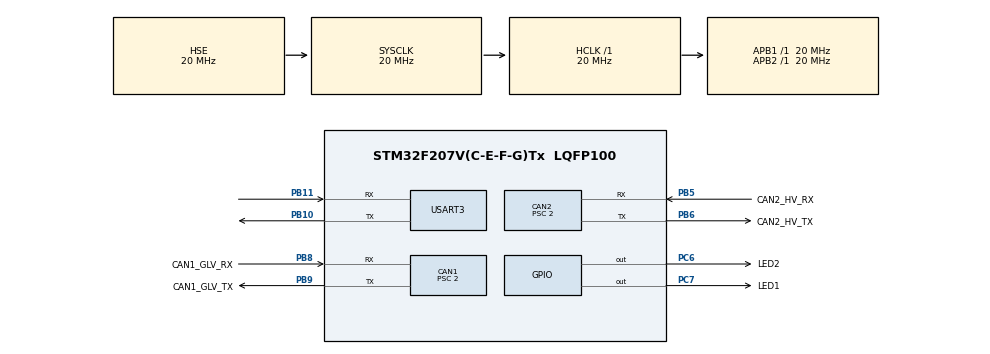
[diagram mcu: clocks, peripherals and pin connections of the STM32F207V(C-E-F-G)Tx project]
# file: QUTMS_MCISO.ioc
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CAN1.BS1=CAN_BS1_8TQ
CAN1.CalculateBaudRate=1000000
CAN1.CalculateTimeBit=1000
CAN1.CalculateTimeQuantum=100.0
CAN1.Prescaler=2
CAN2.BS1=CAN_BS1_8TQ
CAN2.CalculateBaudRate=1000000
CAN2.CalculateTimeBit=1000
CAN2.CalculateTimeQuantum=100.0
CAN2.Prescaler=2
IWDG.Prescaler=IWDG_PRESCALER_8
IWDG.Reload=1000
Mcu.Family=STM32F2
Mcu.Name=STM32F207V(C-E-F-G)Tx
Mcu.Package=LQFP100
NVIC.CAN1_RX0_IRQn=true\:1\:0\:true\:false\:true\:true\:true\:true
NVIC.CAN1_RX1_IRQn=true\:1\:0\:true\:false\:true\:true\:true\:true
NVIC.CAN1_TX_IRQn=true\:0\:0\:false\:false\:true\:true\:true\:true
NVIC.CAN2_RX0_IRQn=true\:1\:0\:true\:false\:true\:true\:true\:true
NVIC.CAN2_RX1_IRQn=true\:1\:0\:true\:false\:true\:true\:true\:true
NVIC.CAN2_TX_IRQn=true\:0\:0\:false\:false\:true\:true\:true\:true
NVIC.PriorityGroup=NVIC_PRIORITYGROUP_4
PB10.Mode=Asynchronous
PB10.Signal=USART3_TX
PB11.Mode=Asynchronous
PB11.Signal=USART3_RX
PB5.GPIO_Label=CAN2_HV_RX
PB5.Mode=CAN_Activate
PB5.Signal=CAN2_RX
PB6.GPIO_Label=CAN2_HV_TX
PB6.Mode=CAN_Activate
PB6.Signal=CAN2_TX
PB8.GPIO_Label=CAN1_GLV_RX
PB8.Mode=CAN_Activate
PB8.Signal=CAN1_RX
PB9.GPIO_Label=CAN1_GLV_TX
PB9.Mode=CAN_Activate
PB9.Signal=CAN1_TX
PC6.GPIO_Label=LED2
PC6.Signal=GPIO_Output
PC7.GPIO_Label=LED1
PC7.Signal=GPIO_Output
PH0-OSC_IN.Mode=HSE-External-Oscillator
PH0-OSC_IN.Signal=RCC_OSC_IN
PH1-OSC_OUT.Mode=HSE-External-Oscillator
PH1-OSC_OUT.Signal=RCC_OSC_OUT
ProjectManager.HeapSize=0x200
ProjectManager.StackSize=0x1000
ProjectManager.TargetToolchain=STM32CubeIDE
RCC.48MHZClocksFreq_Value=80000000
RCC.AHBFreq_Value=20000000
RCC.APB1Freq_Value=20000000
RCC.APB1TimFreq_Value=20000000
RCC.APB2Freq_Value=20000000
RCC.APB2TimFreq_Value=20000000
RCC.CortexFreq_Value=20000000
RCC.HCLKFreq_Value=20000000
RCC.HSE_VALUE=20000000
RCC.HSI_VALUE=16000000
RCC.LSE_VALUE=32768
RCC.PLLM=12
RCC.PLLP=RCC_PLLP_DIV4
RCC.PLLSourceVirtual=RCC_PLLSOURCE_HSE
RCC.SYSCLKFreq_VALUE=20000000
RCC.SYSCLKSource=RCC_SYSCLKSOURCE_HSE
RCC.VCOOutputFreq_Value=320000000
USART3.VirtualMode=VM_ASYNC
VP_IWDG_VS_IWDG.Mode=IWDG_Activate
board=custom

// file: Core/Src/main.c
/* USER CODE BEGIN Header */
/**
 ******************************************************************************
 * @file           : main.c
 * @brief          : Main program body
 ******************************************************************************
 * @attention
 *
 * <h2><center>&copy; Copyright (c) 2021 STMicroelectronics.
 * All rights reserved.</center></h2>
 *
 * This software component is licensed by ST under BSD 3-Clause license,
 * the "License"; You may not use this file except in compliance with the
 * License. You may obtain a copy of the License at:
 *                        opensource.org/licenses/BSD-3-Clause
 *
 ******************************************************************************
 */
/* USER CODE END Header */
#include "main.h"
#include "can.h"
#include "iwdg.h"
#include "usart.h"
#include "gpio.h"

/* USER CODE BEGIN Includes */
#include <stdio.h>
#include <sys/unistd.h>
#include <string.h>
#include <stdlib.h>
#include <CAN_VESC.h>
#include <CAN_MCISO.h>
#include <Timer.h>
#include <CAN_BMU.h>
#include <CAN_VCU.h>
/* USER CODE END Includes */

/* USER CODE BEGIN PV */
// hcan1 == GLV
// hcan2 == HV
// 0 - left, eg FL (0) and RL (2)
// 1 - right, eg FR (1) and RR (3)
#define MCISO_ID 1

MCISO_HeartbeatState_t MCISO_heartbeatState;

#define INVERTER_COUNT 2
#define HEARTBEAT_TIMEOUT 300U

typedef struct heartbeat_state {
	bool BMU;
	bool VCU_CTRL;

	bool inverter[INVERTER_COUNT];

	uint32_t hb_inv_start[INVERTER_COUNT];

	uint32_t hb_BMU_start;
	uint32_t hb_VCU_CTRL_start;
} heartbeat_state_t;

/* USER CODE END PV */

void SystemClock_Config(void);

/* USER CODE BEGIN 0 */
ms_timer_t timer_heartbeat;
heartbeat_state_t hbStates;
BMU_HeartbeatState_t BMU_hbState;

// heartbeat
void setup_heartbeat();
void heartbeat_timer_cb(void *args);
bool check_bad_heartbeat();

// IWDG
void setup_WDG();

/* USER CODE END 0 */

int main(void) {

	/* MCU Configuration--------------------------------------------------------*/

	/* Reset of all peripherals, Initializes the Flash interface and the Systick. */
	HAL_Init();

	/* Configure the system clock */
	SystemClock_Config();

	/* Initialize all configured peripherals */
	MX_GPIO_Init();
	MX_CAN1_Init();
	MX_CAN2_Init();
	MX_USART3_UART_Init();
	//MX_IWDG_Init();
	/* USER CODE BEGIN 2 */

	CAN_setup();
	setup_heartbeat();
	setup_WDG();

	// Turning on failsafe lights
	HAL_GPIO_WritePin(LED1_GPIO_Port, LED1_Pin, SET);
	HAL_GPIO_WritePin(LED2_GPIO_Port, LED2_Pin, SET);
	/* USER CODE END 2 */

	/* Infinite loop */
	/* USER CODE BEGIN WHILE */

	CAN_MSG_Generic_t msg;
	CAN_TxHeaderTypeDef header;

	//bool first_inv_msg = false;

	while (1) {
		check_bad_heartbeat();

		timer_update(&timer_heartbeat, NULL);
		//timer_update(&timer_WDG, NULL);

		// inverter to car
		while (queue_next(&CAN2_Rx, &msg)) {
			if (msg.ID_TYPE == 1) {
				// extended ID, check if VESC
				uint8_t vesc_ID = (msg.ID & 0xFF);
				uint8_t vesc_type_ID = msg.ID >> 8;

				// check that this is actually a VESC message
				if (vesc_type_ID <= VESC_CAN_PACKET_BMS_SOC_SOH_TEMP_STAT) {
					if (vesc_ID == (MCISO_ID)) {
						hbStates.hb_inv_start[0] = HAL_GetTick();
						hbStates.inverter[0] = true;
						MCISO_heartbeatState.errorFlags.HB_INV0 = 0;
					} else if (vesc_ID == (MCISO_ID + 2)) {
						hbStates.hb_inv_start[1] = HAL_GetTick();
						hbStates.inverter[1] = true;
						MCISO_heartbeatState.errorFlags.HB_INV1 = 0;
					}
				}
			}

			// msg from inverter side, just forward
			header.ExtId = msg.ID;
			header.StdId = msg.ID;
			header.IDE = msg.ID_TYPE == 1 ? CAN_ID_EXT : CAN_ID_STD;
			header.RTR = CAN_RTR_DATA;
			header.DLC = msg.DLC;

			send_can_msg(&hcan1, &header, msg.data);
		}

		// car to inverter
		while (queue_next(&CAN1_Rx, &msg)) {
			if (msg.ID == BMU_Heartbeat_ID) {
				Parse_BMU_Heartbeat(msg.data, &BMU_hbState);

				hbStates.hb_BMU_start = HAL_GetTick();
				hbStates.BMU = true;
				MCISO_heartbeatState.errorFlags.HB_BMU = 0;

				if (BMU_hbState.stateID == BMU_STATE_TS_ACTIVE) {
					MCISO_heartbeatState.stateID = MCISO_STATE_FORWARD;
				} else {
					MCISO_heartbeatState.stateID = MCISO_STATE_START;
				}
			} else if (msg.ID == (VCU_Heartbeat_ID | VCU_ID_CTRL)) {
				// control VCU
				hbStates.hb_VCU_CTRL_start = HAL_GetTick();
				hbStates.VCU_CTRL = true;
				MCISO_heartbeatState.errorFlags.HB_VCU_CTRL = 0;
			} else {
				// if bmu in TS active
				if ((BMU_hbState.stateID == BMU_STATE_TS_ACTIVE)
						&& (hbStates.BMU)) {
					// if message for these inverters, forward on
					uint8_t vesc_ID = (msg.ID & 0xFF);
					uint8_t vesc_type_ID = msg.ID >> 8;

					// check that this is actually a VESC message
					if (vesc_type_ID <= VESC_CAN_PACKET_BMS_SOC_SOH_TEMP_STAT) {
						if ((vesc_ID == (MCISO_ID))
								|| (vesc_ID == (MCISO_ID + 2))) {
							// this good so forward
							header.ExtId = msg.ID;
							header.StdId = msg.ID;
							header.IDE =
									msg.ID_TYPE == 1 ? CAN_ID_EXT : CAN_ID_STD;
							header.RTR = CAN_RTR_DATA;
							header.DLC = msg.DLC;

							send_can_msg(&hcan2, &header, msg.data);
						}
					}
				}
			}

		}

		//HAL_IWDG_Refresh(&hiwdg);

		/* USER CODE END WHILE */

	}
}

void SystemClock_Config(void) {
	RCC_OscInitTypeDef RCC_OscInitStruct = { 0 };
	RCC_ClkInitTypeDef RCC_ClkInitStruct = { 0 };

	/** Initializes the RCC Oscillators according to the specified parameters
	 * in the RCC_OscInitTypeDef structure.
	 */
	RCC_OscInitStruct.OscillatorType = RCC_OSCILLATORTYPE_LSI
			| RCC_OSCILLATORTYPE_HSE;
	RCC_OscInitStruct.HSEState = RCC_HSE_ON;
	RCC_OscInitStruct.LSIState = RCC_LSI_ON;
	RCC_OscInitStruct.PLL.PLLState = RCC_PLL_NONE;
	if (HAL_RCC_OscConfig(&RCC_OscInitStruct) != HAL_OK) {
		Error_Handler();
	}

	/** Initializes the CPU, AHB and APB buses clocks
	 */
	RCC_ClkInitStruct.ClockType = RCC_CLOCKTYPE_HCLK | RCC_CLOCKTYPE_SYSCLK
			| RCC_CLOCKTYPE_PCLK1 | RCC_CLOCKTYPE_PCLK2;
	RCC_ClkInitStruct.SYSCLKSource = RCC_SYSCLKSOURCE_HSE;
	RCC_ClkInitStruct.AHBCLKDivider = RCC_SYSCLK_DIV1;
	RCC_ClkInitStruct.APB1CLKDivider = RCC_HCLK_DIV1;
	RCC_ClkInitStruct.APB2CLKDivider = RCC_HCLK_DIV1;

	if (HAL_RCC_ClockConfig(&RCC_ClkInitStruct, FLASH_LATENCY_0) != HAL_OK) {
		Error_Handler();
	}
}

/* USER CODE BEGIN 4 */
#ifdef PRINTF_TO_UART
/** Override _write to log to UART */
int _write(int file, char *data, int len) {
	if ((file != STDOUT_FILENO) && (file != STDERR_FILENO)) {
		return -1;
	}
	HAL_StatusTypeDef s = HAL_UART_Transmit(&huart3, (uint8_t*) data, len,
	HAL_MAX_DELAY);

	return (s == HAL_OK ? len : 0);
}
#endif

bool check_bad_heartbeat() {
	bool success = true;

	if ((HAL_GetTick() - hbStates.hb_inv_start[0]) > HEARTBEAT_TIMEOUT) {
		success = false;
		hbStates.inverter[0] = false;
		MCISO_heartbeatState.errorFlags.HB_INV0 = 1;
	}

	if ((HAL_GetTick() - hbStates.hb_inv_start[1]) > HEARTBEAT_TIMEOUT) {
		success = false;
		hbStates.inverter[1] = false;
		MCISO_heartbeatState.errorFlags.HB_INV1 = 1;
	}

	if ((HAL_GetTick() - hbStates.hb_BMU_start) > HEARTBEAT_TIMEOUT) {
		success = false;
		hbStates.BMU = false;
		MCISO_heartbeatState.errorFlags.HB_BMU = 1;
		MCISO_heartbeatState.stateID = MCISO_STATE_START;
	}

	if ((HAL_GetTick() - hbStates.hb_VCU_CTRL_start) > HEARTBEAT_TIMEOUT) {
		success = false;
		hbStates.VCU_CTRL = false;
		MCISO_heartbeatState.errorFlags.HB_VCU_CTRL = 1;
	}

	return success;
}

void setup_heartbeat() {
	MCISO_heartbeatState.stateID = MCISO_STATE_START;
	MCISO_heartbeatState.errorFlags.rawMem = 0;
	timer_heartbeat = timer_init(50, true, heartbeat_timer_cb);

	hbStates.hb_inv_start[0] = 0;
	hbStates.hb_inv_start[1] = 0;
	hbStates.hb_BMU_start = 0;
	hbStates.hb_VCU_CTRL_start = 0;

	timer_start(&timer_heartbeat);
}

bool WDG_reset = false;

void setup_WDG() {
	MX_IWDG_Init();

	//timer_WDG = timer_init(50, true, WDG_timer_cb);
	//timer_start(&timer_WDG);

	// check if started from watchdog reset

	// check iwdg
	if (__HAL_RCC_GET_FLAG(RCC_FLAG_IWDGRST)) {
		WDG_reset = true;
		HAL_GPIO_WritePin(LED1_GPIO_Port, LED1_Pin, RESET);
		HAL_GPIO_WritePin(LED2_GPIO_Port, LED2_Pin, RESET);
		MCISO_heartbeatState.errorFlags.WATCHDOG = 1;
	}
}

void heartbeat_timer_cb(void *args) {
	HAL_IWDG_Refresh(&hiwdg);
	MCISO_Heartbeat_t msg = Compose_MCISO_Heartbeat(MCISO_ID,
			&MCISO_heartbeatState);
	CAN_TxHeaderTypeDef header = { .ExtId = msg.id, .IDE =
	CAN_ID_EXT, .RTR = CAN_RTR_DATA, .DLC = sizeof(msg.data),
			.TransmitGlobalTime = DISABLE };

	send_can_msg(&hcan1, &header, msg.data);
}

/* USER CODE END 4 */

void Error_Handler(void) {
	__disable_irq();
	while (1) {
	}
}
